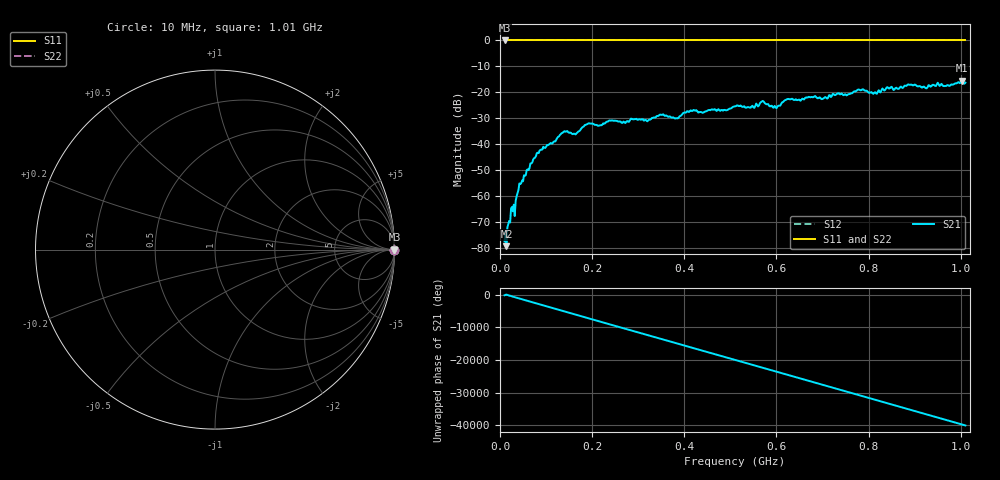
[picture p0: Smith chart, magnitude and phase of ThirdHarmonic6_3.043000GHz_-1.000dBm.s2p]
! 8/17/2025 8:49:11 AM
! C:\ANRITSUVNA\TEMP\TEMP.S2P
! CHANNEL.1
! TR.MEASUREMENT
! RAW.DATA
! RF.CORRECTION.OFF
! AVERAGING.OFF
! IF.BANDWIDTH: 5KHZ
! SWEEPTYPE:  FREQ.SWEEP(Linear)
! Reference Plane Port Info
! PORT:  PORT1  PORT2
! DISTANCE:  0  m  0  m
! TIME:  0  s  0  s
! PHASE.OFFSET:  0  deg.  0  deg.
! LOSS:  0  dB  0  dB
! REF.LOSS:  0  dB  0  dB
! REF.FREQ:  0  Hz  0  Hz
! Power Info
! POWER:  -20  dBm  -20  dBm
! EFF.POWER:  -20  dBm  -20  dBm
! SOURCE.ATTEN:  0  dB  0  dB
! TEST.ATTEN:  0  dB  0  dB
# GHZ S RI R 50.0
! FREQ.GHZ  S11RE  S11IM  S21RE  S21IM  S12RE  S12IM  S22RE  S22IM
!; PortSelection: Port_12
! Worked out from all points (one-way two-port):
!   501 points, 10 MHz to 1.01 GHz, reference 50 ohm
!   highest |S21| = -15.50 dB at 1.002 GHz (marker M1); lowest = -79.5 dB at 14 MHz (marker M2)
!   lowest |S11| = 0.0 dB at 10 MHz (marker M3)
!   |S11| at or under -10 dB: nowhere
!   |S22| runs from 0.0 to 0.0 dB; largest |S21 - S12| = 1.2
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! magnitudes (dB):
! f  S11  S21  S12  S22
! 10 MHz  0.0  -77.6  0.0  0.0
! 14 MHz  0.0  -79.5  0.0  0.0
! 22 MHz  0.0  -70.3  0.0  0.0
! 32 MHz  0.0  -67.8  0.0  0.0
! 44 MHz  0.0  -55.5  0.0  0.0
! 78 MHz  0.0  -44.7  0.0  0.0
! 136 MHz  0.0  -35.7  0.0  0.0
! 162 MHz  0.0  -36.1  0.0  0.0
! 178 MHz  0.0  -33.7  0.0  0.0
! 344 MHz  0.0  -29.1  0.0  0.0
! 382 MHz  0.0  -30.0  0.0  0.0
! 410 MHz  0.0  -27.6  0.0  0.0
! 510 MHz  0.0  -25.4  0.0  0.0
! 570 MHz  0.0  -23.4  0.0  0.0
! 596 MHz  0.0  -25.3  0.0  0.0
! 622 MHz  0.0  -22.8  0.0  0.0
! 678 MHz  0.0  -21.9  0.0  0.0
! 784 MHz  0.0  -19.2  0.0  0.0
! 814 MHz  0.0  -20.0  0.0  0.0
! 844 MHz  0.0  -18.6  0.0  0.0
! 1.002 GHz  0.0  -15.5  0.0  0.0
! 1.01 GHz  0.0  -16.3  0.0  0.0
